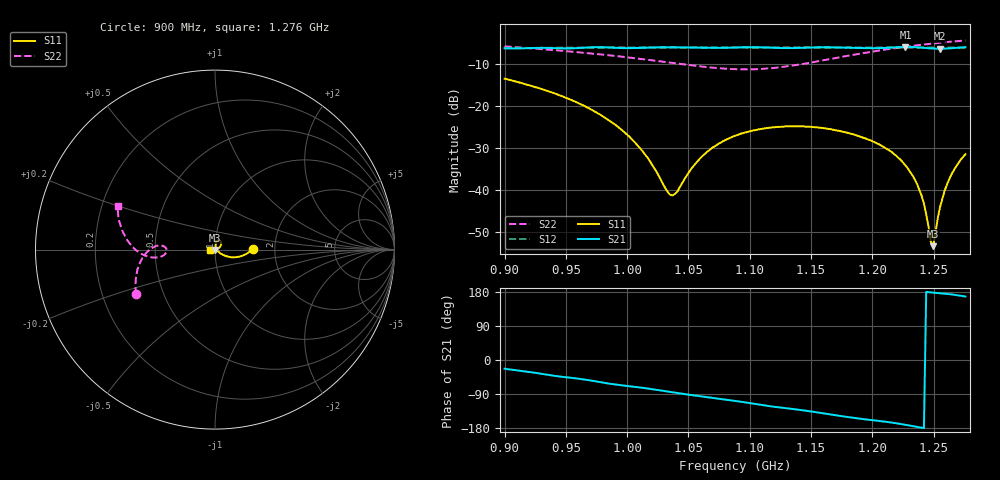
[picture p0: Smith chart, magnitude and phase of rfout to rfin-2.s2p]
!Agilent Technologies,E8358A,US41080382,A.04.25
!Agilent E8358A: A.04.25
!Date: Tuesday, October 25, 2016 18:46:33
!Correction: S11(Full 2 Port SOLT,1,2) S21(Full 2 Port SOLT,1,2) S12(Full 2 Port SOLT,1,2) S22(Full 2 Port SOLT,1,2)
!S2P File: Measurements: S11, S21, S12, S22:
# Hz S  dB  R 50
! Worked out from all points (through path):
!   201 points, 900 MHz to 1.276 GHz, reference 50 ohm
!   highest |S21| = -6.05 dB at 1.227 GHz (marker M1); lowest = -6.5 dB at 1.255 GHz (marker M2)
!   group delay of S21, straight-line fit = 1.26 ns
!   lowest |S11| = -53.3 dB at 1.25 GHz (marker M3), VSWR 1.00, Z = 50 - j0.215 ohm
!   |S11| at or under -10 dB: start of sweep to end of sweep
!   |S22| runs from -11.4 to -4.5 dB; largest |S21 - S12| = 0.018
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9e8  -13.59 0.4  -6.38 -23.1  -6.36 -22.4  -5.93 -150.6
9.6392e8  -19.90 -25.0  -6.27 -50.9  -6.26 -52.1  -7.43 -169.8
1.00152e9  -27.28 -34.8  -6.35 -69.0  -6.19 -69.2  -8.59 -178.7
1.01656e9  -32.31 -33.6  -6.23 -75.2  -6.21 -76.0  -9.11 178.5
1.02596e9  -36.76 -22.8  -6.17 -79.8  -6.20 -80.3  -9.45 177.1
1.03348e9  -40.64 4.9  -6.15 -83.5  -6.20 -83.6  -9.73 176.4
1.03724e9  -41.29 28.3  -6.17 -85.5  -6.19 -85.4  -9.87 176.1
1.06168e9  -31.89 82.2  -6.26 -96.7  -6.21 -96.4  -10.75 176.0
1.088e9  -27.16 80.4  -6.21 -107.9  -6.18 -108.5  -11.33 179.2
1.1162e9  -25.22 71.7  -6.21 -121.7  -6.22 -121.1  -11.16 -175.4
1.15192e9  -25.06 57.2  -6.20 -136.7  -6.19 -137.5  -9.67 -172.3
1.18388e9  -26.75 41.9  -6.27 -152.2  -6.20 -151.9  -7.96 -175.8
1.21396e9  -30.64 25.8  -6.23 -164.2  -6.21 -165.7  -6.56 176.7
1.22712e9  -34.22 18.4  -6.05 -171.2  -6.22 -171.7  -6.03 172.7
1.23464e9  -37.45 13.0  -6.10 -175.6  -6.22 -175.1  -5.75 170.2
1.24028e9  -41.36 5.9  -6.22 -178.6  -6.21 -177.5  -5.55 168.3
1.24404e9  -45.82 -5.6  -6.32 179.7  -6.22 -179.3  -5.43 167.1
1.2478e9  -52.28 -40.0  -6.41 178.3  -6.24 178.9  -5.32 165.8
1.24968e9  -53.34 -85.3  -6.45 177.7  -6.23 178.1  -5.25 165.0
1.25532e9  -44.05 -147.1  -6.50 176.1  -6.23 175.4  -5.07 163.1
1.26472e9  -36.26 -163.5  -6.36 173.1  -6.25 171.2  -4.81 159.8
1.276e9  -31.51 -172.4  -6.12 167.4  -6.24 166.1  -4.53 155.8
